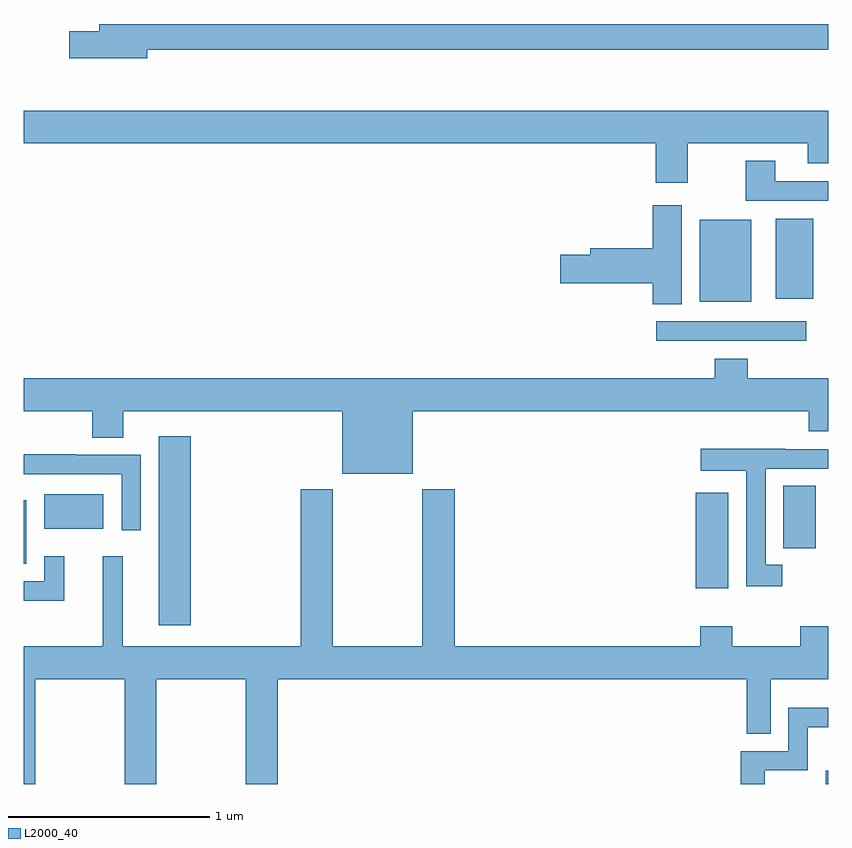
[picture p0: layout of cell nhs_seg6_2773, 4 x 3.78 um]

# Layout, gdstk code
import gdstk
lib = gdstk.Library(unit=1e-6, precision=1e-09)
def R(c, l, rs):  # rectangles x0, y0, x1, y1
    for r in rs: c.add(gdstk.rectangle(r[:2], r[2:], *l))
def P(c, l, *ps):  # polygons
    for p in ps: c.add(gdstk.Polygon(p, *l))
L2000_40 = (2000, 40)

nhs_seg6_2773 = lib.new_cell('nhs_seg6_2773')
R(nhs_seg6_2773, L2000_40, [(278.987,929.5,279,929.565), (275.672,930.288,275.831,931.228), (278.342,930.474,278.503,930.949), (275,930.596,275.014,930.91), (278.777,930.672,278.938,930.983), (275.102,930.77,275.395,930.94), (278.145,931.704,278.89,931.8), (278.36,931.898,278.617,932.305), (278.738,931.913,278.926,932.311)])
P(nhs_seg6_2773, L2000_40, [(275.614,933.15),(279,933.15),(279,933.278),(275.375,933.278),(275.375,933.242),(275.226,933.242),(275.226,933.107),(275.614,933.107)],
  [(278.301,932.684),(278.897,932.684),(278.897,932.585),(279,932.585),(279,932.848),(275,932.848),(275,932.684),(278.141,932.684),(278.141,932.49),(278.301,932.49)],
  [(279,932.496),(278.737,932.496),(278.737,932.599),(278.59,932.599),(278.59,932.4),(279,932.4)],
  [(278.272,932.377),(278.126,932.377),(278.126,932.162),(277.817,932.162),(277.817,932.132),(277.668,932.132),(277.668,931.99),(278.126,931.99),(278.126,931.885),(278.272,931.885)],
  [(276.934,931.352),(278.903,931.352),(278.903,931.253),(279,931.253),(279,931.516),(278.6,931.516),(278.6,931.615),(278.435,931.615),(278.435,931.516),(275,931.516),(275,931.352),(275.342,931.352),(275.342,931.222),(275.494,931.222),(275.494,931.352),(276.584,931.352),(276.584,931.043),(276.934,931.043)],
  [(278.77,930.591),(278.688,930.591),(278.688,931.068),(279,931.068),(279,931.164),(278.785,931.164),(278.785,931.166),(278.367,931.166),(278.367,931.058),(278.592,931.058),(278.592,930.483),(278.77,930.483)],
  [(275.583,931.137),(275.258,931.137),(275.258,931.139),(275,931.139),(275,931.041),(275.487,931.041),(275.487,930.762),(275.583,930.762)],
  [(275.058,930.02),(275.503,930.02),(275.503,929.5),(275.658,929.5),(275.658,930.02),(276.103,930.02),(276.103,929.5),(276.263,929.5),(276.263,930.02),(278.595,930.02),(278.595,929.749),(278.713,929.749),(278.713,930.02),(279,930.02),(279,930.283),(278.86,930.283),(278.86,930.184),(278.523,930.184),(278.523,930.283),(278.363,930.283),(278.363,930.184),(277.142,930.184),(277.142,930.964),(276.982,930.964),(276.982,930.184),(276.537,930.184),(276.537,930.964),(276.377,930.964),(276.377,930.184),(275.492,930.184),(275.492,930.631),(275.393,930.631),(275.393,930.184),(275,930.184),(275,929.5),(275.058,929.5)],
  [(275.201,930.631),(275.103,930.631),(275.103,930.507),(275,930.507),(275,930.411),(275.201,930.411)],
  [(278.683,929.568),(278.898,929.568),(278.898,929.781),(279,929.781),(279,929.878),(278.802,929.878),(278.802,929.664),(278.565,929.664),(278.565,929.5),(278.683,929.5)])

lib.write_gds('nhs_seg6_2773.gds')
